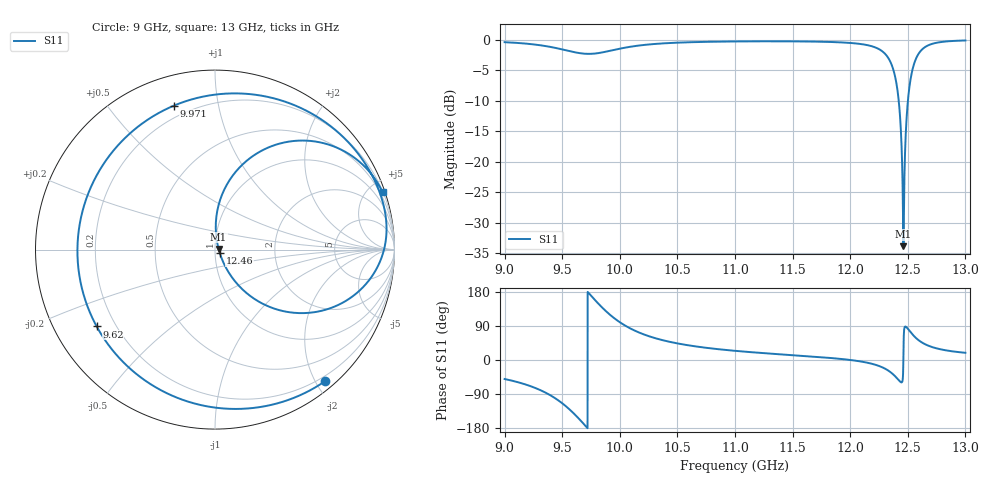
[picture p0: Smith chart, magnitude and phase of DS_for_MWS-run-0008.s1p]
! TOUCHSTONE file generated by CST DESIGN STUDIO
! Date and time: Tue Feb  4 17:49:42 2025
! Project name: C:\Work\MatlabApps\UnitCellOptimizationMatlab\CST\unitcell.cst
! Tree item: Tasks\Sweep1\SPara1\S-Parameters
! Header version: 2024
! Port assignment regex: !\s*Touchstone port\s*([0-9]+)\s*=\s*(CST MWS port|CST DES external port|CST DES block port)\s*(.+)\s* \(\"(.*)\"\)(\s*mode\s*([0-9]+))?.*
! Touchstone port assignment:
! Touchstone port 1 = CST DES external port 1 ("")
# GHz S MA R 50
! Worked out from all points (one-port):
!   4001 points, 9 GHz to 13 GHz, reference 50 ohm
!   lowest |S11| = -33.9 dB at 12.46 GHz (marker M1), VSWR 1.04, Z = 52 + j0.402 ohm
!   |S11| at or under -10 dB: 12.42 GHz to 12.5 GHz (79.72 MHz wide, 0.64 % of centre)
!   S11 on the Smith chart (normalised r, x): 9 GHz: 0.13, -2.13; 9.62 GHz: 0.13, -0.29; 9.971 GHz: 0.14, +0.75; 12.46 GHz: 1.05, -0.04; 13 GHz: 0.24, +5.96
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9  0.9556 -50.2
9.259  0.9146 -72.9
9.394  0.8751 -92.5
9.5  0.8337 -114.1
9.62  0.7861 -147.0
9.698  0.7682 -172.5
9.772  0.7692 162.4
9.873  0.7962 130.8
9.971  0.8342 105.9
10  0.8452 99.7
10.227  0.9104 65.5
10.5  0.9469 43.8
11  0.9688 24.2
11.5  0.9703 12.8
12  0.942 0.1
12.231  0.8552 -13.8
12.358  0.6301 -34.0
12.417  0.3442 -51.8
12.433  0.2332 -56.9
12.449  0.1102 -58.6
12.459  0.03318 -36.3
12.462  0.02027 11.0
12.475  0.1095 87.7
12.5  0.3091 82.7
12.529  0.5047 71.7
12.57  0.6958 58.3
12.686  0.9079 36.8
13  0.9872 19.0
